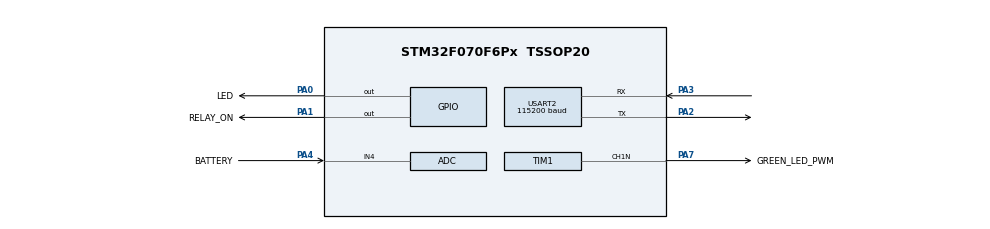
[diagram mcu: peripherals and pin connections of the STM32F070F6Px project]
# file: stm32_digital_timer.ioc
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ADC.SamplingTime=ADC_SAMPLETIME_239CYCLES_5
FREERTOS.BinarySemaphores01=time_sem,Dynamic,NULL
FREERTOS.Tasks01=defaultTask,0,128,StartDefaultTask,Default,NULL,Dynamic,NULL,NULL;consoleTask,-2,256,start_console_task,Default,NULL,Dynamic,NULL,NULL
FREERTOS.configTOTAL_HEAP_SIZE=2048
FREERTOS.configUSE_NEWLIB_REENTRANT=0
Mcu.Family=STM32F0
Mcu.Name=STM32F070F6Px
Mcu.Package=TSSOP20
PA0.GPIO_Label=LED
PA0.Signal=GPIO_Output
PA1.GPIO_Label=RELAY_ON
PA1.Signal=GPIO_Output
PA2.Mode=Asynchronous
PA2.Signal=USART2_TX
PA3.Mode=Asynchronous
PA3.Signal=USART2_RX
PA4.GPIO_Label=BATTERY
PA4.Mode=IN4
PA4.Signal=ADC_IN4
PA7.GPIO_Label=GREEN_LED_PWM
PA7.Mode=PWM Generation1 CH1N
PA7.Signal=TIM1_CH1N
ProjectManager.HeapSize=0x200
ProjectManager.StackSize=0x400
ProjectManager.TargetToolchain=CMake
TIM1.AutoReloadPreload=TIM_AUTORELOAD_PRELOAD_ENABLE
TIM1.Channel-PWM\ Generation1\ CH1N=TIM_CHANNEL_1
TIM1.Period=10000
TIM1.Pulse-PWM\ Generation1\ CH1N=5000
USART2.BaudRate=115200
USART2.VirtualMode-Asynchronous=VM_ASYNC
VP_FREERTOS_VS_CMSIS_V1.Mode=CMSIS_V1
VP_TIM1_VS_ClockSourceINT.Mode=Internal
board=custom

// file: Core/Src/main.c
/* USER CODE BEGIN Header */
/**
  ******************************************************************************
  * @file           : main.c
  * @brief          : Main program body
  ******************************************************************************
  * @attention
  *
  * Copyright (c) 2024 STMicroelectronics.
  * All rights reserved.
  *
  * This software is licensed under terms that can be found in the LICENSE file
  * in the root directory of this software component.
  * If no LICENSE file comes with this software, it is provided AS-IS.
  *
  ******************************************************************************
  */
/* USER CODE END Header */
#include "main.h"
#include "cmsis_os.h"
#include "adc.h"
#include "tim.h"
#include "usart.h"
#include "gpio.h"

void SystemClock_Config(void);
void MX_FREERTOS_Init(void);

int main(void)
{

  /* MCU Configuration--------------------------------------------------------*/

  /* Reset of all peripherals, Initializes the Flash interface and the Systick. */
  HAL_Init();

  /* Configure the system clock */
  SystemClock_Config();

  /* Initialize all configured peripherals */
  MX_GPIO_Init();
  MX_ADC_Init();
  MX_TIM1_Init();
  MX_USART2_UART_Init();

  /* Call init function for freertos objects (in cmsis_os2.c) */
  MX_FREERTOS_Init();

  /* Start scheduler */
  osKernelStart();

  /* We should never get here as control is now taken by the scheduler */

  /* Infinite loop */
  while (1)
  {

  }
}

void SystemClock_Config(void)
{
  RCC_OscInitTypeDef RCC_OscInitStruct = {0};
  RCC_ClkInitTypeDef RCC_ClkInitStruct = {0};

  /** Initializes the RCC Oscillators according to the specified parameters
  * in the RCC_OscInitTypeDef structure.
  */
  RCC_OscInitStruct.OscillatorType = RCC_OSCILLATORTYPE_HSI|RCC_OSCILLATORTYPE_HSI14;
  RCC_OscInitStruct.HSIState = RCC_HSI_ON;
  RCC_OscInitStruct.HSI14State = RCC_HSI14_ON;
  RCC_OscInitStruct.HSICalibrationValue = RCC_HSICALIBRATION_DEFAULT;
  RCC_OscInitStruct.HSI14CalibrationValue = 16;
  RCC_OscInitStruct.PLL.PLLState = RCC_PLL_NONE;
  if (HAL_RCC_OscConfig(&RCC_OscInitStruct) != HAL_OK)
  {
    Error_Handler();
  }

  /** Initializes the CPU, AHB and APB buses clocks
  */
  RCC_ClkInitStruct.ClockType = RCC_CLOCKTYPE_HCLK|RCC_CLOCKTYPE_SYSCLK
                              |RCC_CLOCKTYPE_PCLK1;
  RCC_ClkInitStruct.SYSCLKSource = RCC_SYSCLKSOURCE_HSI;
  RCC_ClkInitStruct.AHBCLKDivider = RCC_SYSCLK_DIV1;
  RCC_ClkInitStruct.APB1CLKDivider = RCC_HCLK_DIV1;

  if (HAL_RCC_ClockConfig(&RCC_ClkInitStruct, FLASH_LATENCY_0) != HAL_OK)
  {
    Error_Handler();
  }
}

void Error_Handler(void)
{
  __disable_irq();
  while (1)
  {
  }
}

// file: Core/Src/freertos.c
/* USER CODE BEGIN Header */
/**
 ******************************************************************************
 * File Name          : freertos.c
 * Description        : Code for freertos applications
 ******************************************************************************
 * @attention
 *
 * Copyright (c) 2024 STMicroelectronics.
 * All rights reserved.
 *
 * This software is licensed under terms that can be found in the LICENSE file
 * in the root directory of this software component.
 * If no LICENSE file comes with this software, it is provided AS-IS.
 *
 ******************************************************************************
 */
/* USER CODE END Header */

#include "FreeRTOS.h"
#include "cmsis_os.h"
#include "main.h"
#include "task.h"

/* USER CODE BEGIN Includes */

#include "adc.h"
#include "stm32f0xx_hal_uart.h"
#include "tim.h"
#include "usart.h"
#include <stdint.h>
#include <stdio.h>
#include <string.h>

/* USER CODE END Includes */

/* USER CODE BEGIN Variables */

#define BUF_SIZE 64
static char rx_buffer[BUF_SIZE];
static volatile size_t rx_index = 0;

typedef struct {
  uint16_t msec;
  uint8_t sec;
  uint8_t min;
  uint8_t hour;
} timer_time_t;

static volatile timer_time_t time = {
    .hour = 0,
    .min = 0,
    .sec = 0,
    .msec = 0,
};
static volatile timer_time_t on_time = {
    .hour = 6,
    .min = 0,
    .sec = 0,
    .msec = 0,
};
static volatile timer_time_t off_time = {
    .hour = 18,
    .min = 0,
    .sec = 0,
    .msec = 0,
};

/* USER CODE END Variables */
osThreadId defaultTaskHandle;
osThreadId consoleTaskHandle;
osSemaphoreId time_semHandle;

/* USER CODE BEGIN FunctionPrototypes */

void handle_rx_complete(void);

/* USER CODE END FunctionPrototypes */

void StartDefaultTask(void const *argument);
void start_console_task(void const *argument);

void MX_FREERTOS_Init(void); /* (MISRA C 2004 rule 8.1) */

/* GetIdleTaskMemory prototype (linked to static allocation support) */
void vApplicationGetIdleTaskMemory(StaticTask_t **ppxIdleTaskTCBBuffer,
                                   StackType_t **ppxIdleTaskStackBuffer,
                                   uint32_t *pulIdleTaskStackSize);

/* USER CODE BEGIN GET_IDLE_TASK_MEMORY */
static StaticTask_t xIdleTaskTCBBuffer;
static StackType_t xIdleStack[configMINIMAL_STACK_SIZE];

void vApplicationGetIdleTaskMemory(StaticTask_t **ppxIdleTaskTCBBuffer,
                                   StackType_t **ppxIdleTaskStackBuffer,
                                   uint32_t *pulIdleTaskStackSize) {
  *ppxIdleTaskTCBBuffer = &xIdleTaskTCBBuffer;
  *ppxIdleTaskStackBuffer = &xIdleStack[0];
  *pulIdleTaskStackSize = configMINIMAL_STACK_SIZE;
  /* place for user code */
}
/* USER CODE END GET_IDLE_TASK_MEMORY */

void MX_FREERTOS_Init(void) {

  /* Create the semaphores(s) */
  /* definition and creation of time_sem */
  osSemaphoreDef(time_sem);
  time_semHandle = osSemaphoreCreate(osSemaphore(time_sem), 1);

  /* Create the thread(s) */
  /* definition and creation of defaultTask */
  osThreadDef(defaultTask, StartDefaultTask, osPriorityNormal, 0, 128);
  defaultTaskHandle = osThreadCreate(osThread(defaultTask), NULL);

  /* definition and creation of consoleTask */
  osThreadDef(consoleTask, start_console_task, osPriorityLow, 0, 256);
  consoleTaskHandle = osThreadCreate(osThread(consoleTask), NULL);

}

void StartDefaultTask(void const *argument) {
  /* USER CODE BEGIN StartDefaultTask */
  UNUSED(argument);
  uint32_t last_timestamp = HAL_GetTick();

  HAL_TIM_PWM_Start(&htim1, TIM_CHANNEL_1);
  HAL_TIMEx_PWMN_Start(&htim1, TIM_CHANNEL_1);
  /* Infinite loop */
  // HAL_GPIO_WritePin(GPIOA, LED_Pin, GPIO_PIN_SET);
  /* Infinite loop */
  for (;;) {
    // HAL_GPIO_TogglePin(GPIOA, RELAY_ON_Pin);

    osSemaphoreWait(time_semHandle, 0);

    uint32_t new_timestamp = HAL_GetTick();
    uint32_t time_ms = time.msec + (time.sec * 1000) + (time.min * 60 * 1000) +
                       (time.hour * 60 * 60 * 1000);
    uint32_t time_diff_ms = new_timestamp - last_timestamp;
    time_ms = time_ms + time_diff_ms;
    last_timestamp = new_timestamp;
    time.msec = time_ms % 1000;
    time.sec = (time_ms / 1000) % 60;
    time.min = (time_ms / (60 * 1000)) % 60;
    time.hour = (time_ms / (60 * 60 * 1000)) % 24;

    uint32_t on_time_ms = on_time.msec + (on_time.sec * 1000) +
                          (on_time.min * 60 * 1000) +
                          (on_time.hour * 60 * 60 * 1000);
    uint32_t off_time_ms = off_time.msec + (off_time.sec * 1000) +
                           (off_time.min * 60 * 1000) +
                           (off_time.hour * 60 * 60 * 1000);

    // Check if passed on/off time
    if ((on_time_ms <= off_time_ms) &&
        (on_time_ms <= time_ms && time_ms < off_time_ms)) {
      // Same day on/off
      // Turn on
      HAL_GPIO_WritePin(GPIOA, RELAY_ON_Pin, GPIO_PIN_SET);
    } else if ((on_time_ms > off_time_ms) &&
               (on_time_ms <= time_ms || time_ms < off_time_ms)) {
      // Different days on/off
      // Turn on
      HAL_GPIO_WritePin(GPIOA, RELAY_ON_Pin, GPIO_PIN_SET);
    } else {
      // Turn off
      HAL_GPIO_WritePin(GPIOA, RELAY_ON_Pin, GPIO_PIN_RESET);
    }

    osSemaphoreRelease(time_semHandle);
    osDelay(5000);

    HAL_GPIO_WritePin(GPIOA, LED_Pin, GPIO_PIN_SET);
    osDelay(1);
    HAL_GPIO_WritePin(GPIOA, LED_Pin, GPIO_PIN_RESET);

    // char tx[16] = "hi\n\r";
    // HAL_UART_Transmit(&huart2, (uint8_t *)tx, 4, 0);
  }
  /* USER CODE END StartDefaultTask */
}

void start_console_task(void const *argument) {
  /* USER CODE BEGIN start_console_task */
  UNUSED(argument);
  HAL_StatusTypeDef ret;
  uint8_t rx_byte = 0;

  HAL_UART_Transmit(&huart2, (const uint8_t *)"****\nBoot\n", 10, 1000);

  /* Infinite loop */
  for (;;) {
    ret = HAL_UART_Receive(&huart2, &rx_byte, 1, 1000);
    switch (ret) {
    case HAL_TIMEOUT:
    case HAL_ERROR:
    case HAL_BUSY:
      break;
    case HAL_OK:
      HAL_UART_Transmit(&huart2, &rx_byte, 1, 1000); // Echo
      if (rx_byte == '\n' || rx_byte == '\r') {
        rx_buffer[rx_index] = 0; // Terminate string
        handle_rx_complete();
        rx_index = 0;
      } else {
        rx_buffer[rx_index] = rx_byte;
        rx_index++;
        if (rx_index >= (BUF_SIZE - 1)) {
          // Too long command...
          // TODO: print error
          rx_index = 0;
        }
      }
    }

    osDelay(1);
  }
  /* USER CODE END start_console_task */
}

/* USER CODE BEGIN Application */

void handle_rx_complete(void) {
  char tx[16] = "";
  int r = 0;
  uint16_t raw;

  // if (strncmp(rx_buffer, "st ", 3) == 0) {}
  if (rx_buffer[0] == 'g' && rx_buffer[1] == 't') {
    osSemaphoreWait(time_semHandle, 0);
    snprintf(tx, sizeof(tx), "%02u:%02u:%02u\n", time.hour, time.min, time.sec);
    HAL_UART_Transmit(&huart2, (uint8_t *)tx, 9, 1000);
    osSemaphoreRelease(time_semHandle);
  } else if (rx_buffer[0] == 'g' && rx_buffer[1] == 'o' &&
             rx_buffer[2] == 'n') {
    osSemaphoreWait(time_semHandle, 0);
    snprintf(tx, sizeof(tx), "%02u:%02u:%02u\n", on_time.hour, on_time.min,
             on_time.sec);
    HAL_UART_Transmit(&huart2, (uint8_t *)tx, 9, 1000);
    osSemaphoreRelease(time_semHandle);
  } else if (rx_buffer[0] == 'g' && rx_buffer[1] == 'o' &&
             rx_buffer[2] == 'f' && rx_buffer[3] == 'f') {
    osSemaphoreWait(time_semHandle, 0);
    snprintf(tx, sizeof(tx), "%02u:%02u:%02u\n", off_time.hour, off_time.min,
             off_time.sec);
    HAL_UART_Transmit(&huart2, (uint8_t *)tx, 9, 1000);
    osSemaphoreRelease(time_semHandle);
  } else if (rx_buffer[0] == 's' && rx_buffer[1] == 't') {
    unsigned int hours, mins, secs;
    r = sscanf(rx_buffer, "st %u:%u:%u", &hours, &mins, &secs);
    if (r != 3 || hours > 23 || mins > 59 || secs > 59) {
      // Bad
      snprintf(tx, sizeof(tx), "Bad time\n");
      HAL_UART_Transmit(&huart2, (uint8_t *)tx, 9, 1000);
      return;
    }

    osSemaphoreWait(time_semHandle, 0);
    time.hour = hours;
    time.min = mins;
    time.sec = secs;
    time.msec = 0;
    snprintf(tx, sizeof(tx), "%02u:%02u:%02u\n", time.hour, time.min, time.sec);
    HAL_UART_Transmit(&huart2, (uint8_t *)tx, 9, 1000);
    osSemaphoreRelease(time_semHandle);
  } else if (rx_buffer[0] == 's' && rx_buffer[1] == 'o' &&
             rx_buffer[2] == 'n') {
    unsigned int hours, mins, secs;
    r = sscanf(rx_buffer, "son %u:%u:%u", &hours, &mins, &secs);
    if (r != 3 || hours > 23 || mins > 59 || secs > 59) {
      // Bad
      snprintf(tx, sizeof(tx), "Bad time\n");
      HAL_UART_Transmit(&huart2, (uint8_t *)tx, 9, 1000);
      return;
    }

    osSemaphoreWait(time_semHandle, 0);
    on_time.hour = hours;
    on_time.min = mins;
    on_time.sec = secs;
    on_time.msec = 0;
    snprintf(tx, sizeof(tx), "%02u:%02u:%02u\n", on_time.hour, on_time.min,
             on_time.sec);
    HAL_UART_Transmit(&huart2, (uint8_t *)tx, 9, 1000);
    osSemaphoreRelease(time_semHandle);
  } else if (rx_buffer[0] == 's' && rx_buffer[1] == 'o' &&
             rx_buffer[2] == 'f' && rx_buffer[3] == 'f') {
    unsigned int hours, mins, secs;
    r = sscanf(rx_buffer, "soff %u:%u:%u", &hours, &mins, &secs);
    if (r != 3 || hours > 23 || mins > 59 || secs > 59) {
      // Bad
      snprintf(tx, sizeof(tx), "Bad time\n");
      HAL_UART_Transmit(&huart2, (uint8_t *)tx, 9, 1000);
      return;
    }

    osSemaphoreWait(time_semHandle, 0);
    off_time.hour = hours;
    off_time.min = mins;
    off_time.sec = secs;
    off_time.msec = 0;
    snprintf(tx, sizeof(tx), "%02u:%02u:%02u\n", off_time.hour, off_time.min,
             off_time.sec);
    HAL_UART_Transmit(&huart2, (uint8_t *)tx, 9, 1000);
    osSemaphoreRelease(time_semHandle);
  } else if (rx_buffer[0] == 'b' && rx_buffer[1] == 'a' &&
             rx_buffer[2] == 't') {

    // Get ADC value
    HAL_ADC_Start(&hadc);
    HAL_ADC_PollForConversion(&hadc, 3000);
    raw = HAL_ADC_GetValue(&hadc);

    // Convert to string and print

    // Take x(3300 / 4096) to get mV
    // Take x2 to get the battery voltage (have divider by with 100k and 100k,
    // to be inside of 3.3V)

    uint32_t val = ((uint32_t)raw * 3300 * 2) / 4095;

    snprintf(tx, sizeof(tx), "raw: %hu\n", raw);
    HAL_UART_Transmit(&huart2, (uint8_t *)tx, strlen(tx), 1000);
    snprintf(tx, sizeof(tx), "vol: %lu mV\n", val);
    HAL_UART_Transmit(&huart2, (uint8_t *)tx, strlen(tx), 1000);
    HAL_ADC_Stop(&hadc);
  }

  /*
  else if (rx_buffer[0]) {

    HAL_UART_Transmit(&huart2, (uint8_t *)"gt\n", 3, 1000);
    HAL_UART_Transmit(&huart2, (uint8_t *)"st hh:mm:ss\n", 12, 1000);
    HAL_UART_Transmit(&huart2, (uint8_t *)"gon\n", 4, 1000);
    HAL_UART_Transmit(&huart2, (uint8_t *)"goff\n", 5, 1000);
    HAL_UART_Transmit(&huart2, (uint8_t *)"son hh:mm:ss\n", 13, 1000);
    HAL_UART_Transmit(&huart2, (uint8_t *)"soff hh:mm:ss\n", 14, 1000);

  }
  */

  HAL_UART_Transmit(&huart2, (uint8_t *)"> ", 2, 1000);
}

/* USER CODE END Application */
